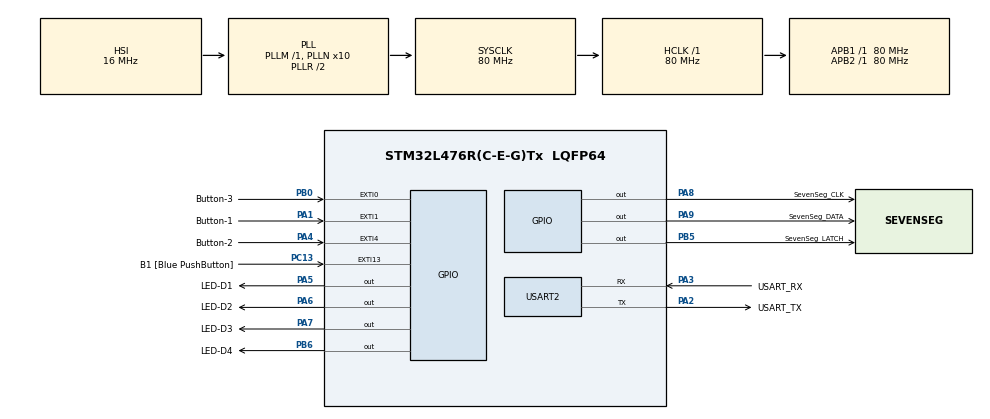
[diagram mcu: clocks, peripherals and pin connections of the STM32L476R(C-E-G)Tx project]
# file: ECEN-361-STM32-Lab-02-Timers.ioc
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Mcu.Family=STM32L4
Mcu.Name=STM32L476R(C-E-G)Tx
Mcu.Package=LQFP64
Mcu.UserConstants=reaction_timer,1
NVIC.EXTI0_IRQn=true\:0\:0\:false\:false\:true\:true\:true\:true
NVIC.EXTI1_IRQn=true\:0\:0\:false\:false\:true\:true\:true\:true
NVIC.EXTI4_IRQn=true\:0\:0\:false\:false\:true\:true\:true\:true
NVIC.PriorityGroup=NVIC_PRIORITYGROUP_4
NVIC.TIM1_TRG_COM_TIM17_IRQn=true\:0\:0\:false\:false\:true\:true\:true\:true
NVIC.TIM1_UP_TIM16_IRQn=true\:0\:0\:false\:false\:true\:true\:true\:true
NVIC.TIM6_DAC_IRQn=true\:0\:0\:false\:false\:true\:true\:true\:true
NVIC.TIM7_IRQn=true\:0\:0\:false\:false\:true\:true\:true\:true
PA0.Signal=ADCx_IN5
PA1.GPIO_Label=Button-1
PA1.GPIO_ModeDefaultEXTI=GPIO_MODE_IT_FALLING
PA1.Signal=GPXTI1
PA13\ (JTMS-SWDIO).GPIO_Label=TMS
PA13\ (JTMS-SWDIO).Mode=Serial_Wire
PA13\ (JTMS-SWDIO).Signal=SYS_JTMS-SWDIO
PA14\ (JTCK-SWCLK).GPIO_Label=TCK
PA14\ (JTCK-SWCLK).Mode=Serial_Wire
PA14\ (JTCK-SWCLK).Signal=SYS_JTCK-SWCLK
PA2.GPIO_Label=USART_TX
PA2.GPIO_Mode=GPIO_MODE_AF_PP
PA2.GPIO_PuPd=GPIO_NOPULL
PA2.GPIO_Speed=GPIO_SPEED_FREQ_VERY_HIGH
PA2.Mode=Asynchronous
PA2.Signal=USART2_TX
PA3.GPIO_Label=USART_RX
PA3.GPIO_Mode=GPIO_MODE_AF_PP
PA3.GPIO_PuPd=GPIO_NOPULL
PA3.GPIO_Speed=GPIO_SPEED_FREQ_VERY_HIGH
PA3.Mode=Asynchronous
PA3.Signal=USART2_RX
PA4.GPIO_Label=Button-2
PA4.GPIO_ModeDefaultEXTI=GPIO_MODE_IT_FALLING
PA4.Signal=GPXTI4
PA5.GPIO_Label=LED-D1
PA5.Signal=GPIO_Output
PA6.GPIO_Label=LED-D2
PA6.Signal=GPIO_Output
PA7.GPIO_Label=LED-D3
PA7.Signal=GPIO_Output
PA8.GPIO_Label=SevenSeg_CLK
PA8.Signal=GPIO_Output
PA9.GPIO_Label=SevenSeg_DATA
PA9.Signal=GPIO_Output
PB0.GPIO_Label=Button-3
PB0.GPIO_ModeDefaultEXTI=GPIO_MODE_IT_FALLING
PB0.Signal=GPXTI0
PB3\ (JTDO-TRACESWO).Signal=SYS_JTDO-SWO
PB5.GPIO_Label=SevenSeg_LATCH
PB5.Signal=GPIO_Output
PB6.GPIO_Label=LED-D4
PB6.Signal=GPIO_Output
PC1.GPIO_Label=LM35_IN
PC1.Signal=ADCx_IN2
PC13.GPIO_Label=B1 [Blue PushButton]
PC13.GPIO_ModeDefaultEXTI=GPIO_MODE_IT_FALLING
PC13.GPIO_PuPd=GPIO_NOPULL
PC13.Signal=GPXTI13
PC14-OSC32_IN\ (PC14).Mode=LSE-External-Oscillator
PC14-OSC32_IN\ (PC14).Signal=RCC_OSC32_IN
PC15-OSC32_OUT\ (PC15).Mode=LSE-External-Oscillator
PC15-OSC32_OUT\ (PC15).Signal=RCC_OSC32_OUT
PH0-OSC_IN\ (PH0).Signal=RCC_OSC_IN
PH1-OSC_OUT\ (PH1).Signal=RCC_OSC_OUT
ProjectManager.HeapSize=0x200
ProjectManager.StackSize=0x400
ProjectManager.TargetToolchain=STM32CubeIDE
RCC.ADCFreq_Value=64000000
RCC.AHBFreq_Value=80000000
RCC.APB1Freq_Value=80000000
RCC.APB1TimFreq_Value=80000000
RCC.APB2Freq_Value=80000000
RCC.APB2TimFreq_Value=80000000
RCC.CortexFreq_Value=80000000
RCC.HCLKFreq_Value=80000000
RCC.HSE_VALUE=8000000
RCC.HSI_VALUE=16000000
RCC.MSI_VALUE=4000000
RCC.PLLN=10
RCC.PLLSourceVirtual=RCC_PLLSOURCE_HSI
RCC.PREFETCH_ENABLE=1
RCC.SYSCLKFreq_VALUE=80000000
RCC.SYSCLKSource=RCC_SYSCLKSOURCE_PLLCLK
RCC.USBFreq_Value=64000000
RCC.VCOOutputFreq_Value=160000000
SH.ADCx_IN2.0=ADC1_IN2
SH.ADCx_IN5.0=ADC2_IN5
TIM16.Period=10000
TIM16.Prescaler=8000 -1
TIM17.Period=100
TIM17.Prescaler=800-1
TIM3.AutoReloadPreload=TIM_AUTORELOAD_PRELOAD_DISABLE
TIM3.Period=65535
TIM3.Prescaler=8000-1
TIM6.Prescaler=319
TIM7.Prescaler=159
USART2.VirtualMode-Asynchronous=VM_ASYNC
VP_TIM16_VS_ClockSourceINT.Mode=Enable_Timer
VP_TIM17_VS_ClockSourceINT.Mode=Enable_Timer
VP_TIM3_VS_ClockSourceINT.Mode=Internal
VP_TIM6_VS_ClockSourceINT.Mode=Enable_Timer
VP_TIM7_VS_ClockSourceINT.Mode=Enable_Timer
board=NUCLEO-L476RG

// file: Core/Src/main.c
/* USER CODE BEGIN Header */
/**
  ******************************************************************************
  * @file           : main.c
  * @brief          : Main program body
  ******************************************************************************
  * @attention
  *
  * Copyright (c) 2023 STMicroelectronics.
  * All rights reserved.
  *
  * This software is licensed under terms that can be found in the LICENSE file
  * in the root directory of this software component.
  * If no LICENSE file comes with this software, it is provided AS-IS.
  *
  ******************************************************************************
  */
/* USER CODE END Header */
#include "main.h"

/* USER CODE BEGIN Includes */
#include "MultiFunctionShield.h"
#include <stdio.h>
#include <stdlib.h>
#include <stdbool.h>

/* USER CODE END Includes */

TIM_HandleTypeDef htim3;
TIM_HandleTypeDef htim6;
TIM_HandleTypeDef htim7;
TIM_HandleTypeDef htim16;
TIM_HandleTypeDef htim17;

UART_HandleTypeDef huart2;

/* USER CODE BEGIN PV */
bool got_start_button = false;
bool got_stop_button = false;
bool got_fastest_button = false;

/* USER CODE END PV */

void SystemClock_Config(void);
static void MX_GPIO_Init(void);
static void MX_USART2_UART_Init(void);
static void MX_TIM17_Init(void);
static void MX_TIM16_Init(void);
static void MX_TIM3_Init(void);
static void MX_TIM6_Init(void);
static void MX_TIM7_Init(void);
/* USER CODE BEGIN PFP */
/* Private function prototypes -----------------------------------------------*/
#define PUTCHAR_PROTOTYPE int __io_putchar(int ch)

void HAL_GPIO_EXTI_Callback(uint16_t GPIO_Pin);
void show_a_random_number(void);
void got_start(void);
void got_stop(void);
void got_fastest(void);
int best_reaction_time_in_millisec = 99999;  //Start with something easy to beat
bool started_doing_reaction_timers = false;
bool ready_to_stop = false;  // Indicates if the user is allowed to press STOP

/* USER CODE END PFP */

int main(void)
{

  /* MCU Configuration--------------------------------------------------------*/

  /* Reset of all peripherals, Initializes the Flash interface and the Systick. */
  HAL_Init();

  /* Configure the system clock */
  SystemClock_Config();

  /* Initialize all configured peripherals */
  MX_GPIO_Init();
  MX_USART2_UART_Init();
  MX_TIM17_Init();
  MX_TIM16_Init();
  MX_TIM3_Init();
  MX_TIM6_Init();
  MX_TIM7_Init();
  /* USER CODE BEGIN 2 */

  // Start timer
  HAL_TIM_Base_Start_IT(&htim17);  // LED SevenSeg cycle thru them   DONT CHANGE
  HAL_TIM_Base_Start_IT(&htim16);  // LED-D1 toggle according to Timer16   DONT CHANGE

  /************  STUDENT TO FILL IN HERE START *********************/

	  // Add your Timer Start for LED-D2 HERE
	  HAL_TIM_Base_Start_IT(&htim7);	//enable timer 7
	  // Add your Timer Start for LED-D3 HERE
	  HAL_TIM_Base_Start_IT(&htim6);	//enable timer 6

  /************  STUDENT TO FILL IN HERE END   *********************/

  MultiFunctionShield_Clear();
  /* USER CODE END 2 */

  /* Infinite loop */
  /* USER CODE BEGIN WHILE */
  Clear_LEDs();
  printf("\033\143");  // clear the terminal before printing
  printf("Hello Lab-2 -- Timers and Interrupts \n\r\n\r");
  srand((unsigned) uwTick );

  while (1)
  {
      // Wait for the START button to be pressed
      while (!got_start_button);

      // START button was pressed
      got_start();
      got_start_button = false;

      // Wait for the STOP button to be pressed
      while (!got_stop_button);

      // STOP button was pressed
      got_stop();
      got_stop_button = false;

      // Reset the reaction timer state for the next round
      MX_TIM3_Init();  // Reinitialize the timer for the next round
  }

  /* USER CODE END 3 */
}

void SystemClock_Config(void)
{
  RCC_OscInitTypeDef RCC_OscInitStruct = {0};
  RCC_ClkInitTypeDef RCC_ClkInitStruct = {0};

  /** Configure the main internal regulator output voltage
  */
  if (HAL_PWREx_ControlVoltageScaling(PWR_REGULATOR_VOLTAGE_SCALE1) != HAL_OK)
  {
    Error_Handler();
  }

  /** Initializes the RCC Oscillators according to the specified parameters
  * in the RCC_OscInitTypeDef structure.
  */
  RCC_OscInitStruct.OscillatorType = RCC_OSCILLATORTYPE_HSI;
  RCC_OscInitStruct.HSIState = RCC_HSI_ON;
  RCC_OscInitStruct.HSICalibrationValue = RCC_HSICALIBRATION_DEFAULT;
  RCC_OscInitStruct.PLL.PLLState = RCC_PLL_ON;
  RCC_OscInitStruct.PLL.PLLSource = RCC_PLLSOURCE_HSI;
  RCC_OscInitStruct.PLL.PLLM = 1;
  RCC_OscInitStruct.PLL.PLLN = 10;
  RCC_OscInitStruct.PLL.PLLP = RCC_PLLP_DIV7;
  RCC_OscInitStruct.PLL.PLLQ = RCC_PLLQ_DIV2;
  RCC_OscInitStruct.PLL.PLLR = RCC_PLLR_DIV2;
  if (HAL_RCC_OscConfig(&RCC_OscInitStruct) != HAL_OK)
  {
    Error_Handler();
  }

  /** Initializes the CPU, AHB and APB buses clocks
  */
  RCC_ClkInitStruct.ClockType = RCC_CLOCKTYPE_HCLK|RCC_CLOCKTYPE_SYSCLK
                              |RCC_CLOCKTYPE_PCLK1|RCC_CLOCKTYPE_PCLK2;
  RCC_ClkInitStruct.SYSCLKSource = RCC_SYSCLKSOURCE_PLLCLK;
  RCC_ClkInitStruct.AHBCLKDivider = RCC_SYSCLK_DIV1;
  RCC_ClkInitStruct.APB1CLKDivider = RCC_HCLK_DIV1;
  RCC_ClkInitStruct.APB2CLKDivider = RCC_HCLK_DIV1;

  if (HAL_RCC_ClockConfig(&RCC_ClkInitStruct, FLASH_LATENCY_4) != HAL_OK)
  {
    Error_Handler();
  }
}

static void MX_TIM3_Init(void)
{

  TIM_ClockConfigTypeDef sClockSourceConfig = {0};
  TIM_MasterConfigTypeDef sMasterConfig = {0};

  htim3.Instance = TIM3;
  htim3.Init.Prescaler = 8000-1;
  htim3.Init.CounterMode = TIM_COUNTERMODE_UP;
  htim3.Init.Period = 65535;
  htim3.Init.ClockDivision = TIM_CLOCKDIVISION_DIV1;
  htim3.Init.AutoReloadPreload = TIM_AUTORELOAD_PRELOAD_DISABLE;
  if (HAL_TIM_Base_Init(&htim3) != HAL_OK)
  {
    Error_Handler();
  }
  sClockSourceConfig.ClockSource = TIM_CLOCKSOURCE_INTERNAL;
  if (HAL_TIM_ConfigClockSource(&htim3, &sClockSourceConfig) != HAL_OK)
  {
    Error_Handler();
  }
  sMasterConfig.MasterOutputTrigger = TIM_TRGO_RESET;
  sMasterConfig.MasterSlaveMode = TIM_MASTERSLAVEMODE_DISABLE;
  if (HAL_TIMEx_MasterConfigSynchronization(&htim3, &sMasterConfig) != HAL_OK)
  {
    Error_Handler();
  }

}

static void MX_TIM6_Init(void)
{

  TIM_MasterConfigTypeDef sMasterConfig = {0};

  htim6.Instance = TIM6;
  htim6.Init.Prescaler = 319;
  htim6.Init.CounterMode = TIM_COUNTERMODE_UP;
  htim6.Init.Period = 65535;
  htim6.Init.AutoReloadPreload = TIM_AUTORELOAD_PRELOAD_DISABLE;
  if (HAL_TIM_Base_Init(&htim6) != HAL_OK)
  {
    Error_Handler();
  }
  sMasterConfig.MasterOutputTrigger = TIM_TRGO_RESET;
  sMasterConfig.MasterSlaveMode = TIM_MASTERSLAVEMODE_DISABLE;
  if (HAL_TIMEx_MasterConfigSynchronization(&htim6, &sMasterConfig) != HAL_OK)
  {
    Error_Handler();
  }

}

static void MX_TIM7_Init(void)
{

  TIM_MasterConfigTypeDef sMasterConfig = {0};

  htim7.Instance = TIM7;
  htim7.Init.Prescaler = 159;
  htim7.Init.CounterMode = TIM_COUNTERMODE_UP;
  htim7.Init.Period = 65535;
  htim7.Init.AutoReloadPreload = TIM_AUTORELOAD_PRELOAD_DISABLE;
  if (HAL_TIM_Base_Init(&htim7) != HAL_OK)
  {
    Error_Handler();
  }
  sMasterConfig.MasterOutputTrigger = TIM_TRGO_RESET;
  sMasterConfig.MasterSlaveMode = TIM_MASTERSLAVEMODE_DISABLE;
  if (HAL_TIMEx_MasterConfigSynchronization(&htim7, &sMasterConfig) != HAL_OK)
  {
    Error_Handler();
  }

}

static void MX_TIM16_Init(void)
{

  htim16.Instance = TIM16;
  htim16.Init.Prescaler = 8000 -1;
  htim16.Init.CounterMode = TIM_COUNTERMODE_UP;
  htim16.Init.Period = 10000;
  htim16.Init.ClockDivision = TIM_CLOCKDIVISION_DIV1;
  htim16.Init.RepetitionCounter = 0;
  htim16.Init.AutoReloadPreload = TIM_AUTORELOAD_PRELOAD_DISABLE;
  if (HAL_TIM_Base_Init(&htim16) != HAL_OK)
  {
    Error_Handler();
  }

}

static void MX_TIM17_Init(void)
{

  htim17.Instance = TIM17;
  htim17.Init.Prescaler = 800-1;
  htim17.Init.CounterMode = TIM_COUNTERMODE_UP;
  htim17.Init.Period = 100;
  htim17.Init.ClockDivision = TIM_CLOCKDIVISION_DIV1;
  htim17.Init.RepetitionCounter = 0;
  htim17.Init.AutoReloadPreload = TIM_AUTORELOAD_PRELOAD_DISABLE;
  if (HAL_TIM_Base_Init(&htim17) != HAL_OK)
  {
    Error_Handler();
  }

}

static void MX_USART2_UART_Init(void)
{

  huart2.Instance = USART2;
  huart2.Init.BaudRate = 115200;
  huart2.Init.WordLength = UART_WORDLENGTH_8B;
  huart2.Init.StopBits = UART_STOPBITS_1;
  huart2.Init.Parity = UART_PARITY_NONE;
  huart2.Init.Mode = UART_MODE_TX_RX;
  huart2.Init.HwFlowCtl = UART_HWCONTROL_NONE;
  huart2.Init.OverSampling = UART_OVERSAMPLING_16;
  huart2.Init.OneBitSampling = UART_ONE_BIT_SAMPLE_DISABLE;
  huart2.AdvancedInit.AdvFeatureInit = UART_ADVFEATURE_NO_INIT;
  if (HAL_UART_Init(&huart2) != HAL_OK)
  {
    Error_Handler();
  }

}

static void MX_GPIO_Init(void)
{
  GPIO_InitTypeDef GPIO_InitStruct = {0};

  /* GPIO Ports Clock Enable */
  __HAL_RCC_GPIOC_CLK_ENABLE();
  __HAL_RCC_GPIOH_CLK_ENABLE();
  __HAL_RCC_GPIOA_CLK_ENABLE();
  __HAL_RCC_GPIOB_CLK_ENABLE();

  /*Configure GPIO pin Output Level */
  HAL_GPIO_WritePin(GPIOA, LED_D1_Pin|LED_D2_Pin|LED_D3_Pin|SevenSeg_CLK_Pin
                          |SevenSeg_DATA_Pin, GPIO_PIN_RESET);

  /*Configure GPIO pin Output Level */
  HAL_GPIO_WritePin(GPIOB, SevenSeg_LATCH_Pin|LED_D4_Pin, GPIO_PIN_RESET);

  /*Configure GPIO pin : B1_Pin */
  GPIO_InitStruct.Pin = B1_Pin;
  GPIO_InitStruct.Mode = GPIO_MODE_IT_FALLING;
  GPIO_InitStruct.Pull = GPIO_NOPULL;
  HAL_GPIO_Init(B1_GPIO_Port, &GPIO_InitStruct);

  /*Configure GPIO pin : LM35_IN_Pin */
  GPIO_InitStruct.Pin = LM35_IN_Pin;
  GPIO_InitStruct.Mode = GPIO_MODE_ANALOG_ADC_CONTROL;
  GPIO_InitStruct.Pull = GPIO_NOPULL;
  HAL_GPIO_Init(LM35_IN_GPIO_Port, &GPIO_InitStruct);

  /*Configure GPIO pin : PA0 */
  GPIO_InitStruct.Pin = GPIO_PIN_0;
  GPIO_InitStruct.Mode = GPIO_MODE_ANALOG_ADC_CONTROL;
  GPIO_InitStruct.Pull = GPIO_NOPULL;
  HAL_GPIO_Init(GPIOA, &GPIO_InitStruct);

  /*Configure GPIO pins : Button_1_Pin Button_2_Pin */
  GPIO_InitStruct.Pin = Button_1_Pin|Button_2_Pin;
  GPIO_InitStruct.Mode = GPIO_MODE_IT_FALLING;
  GPIO_InitStruct.Pull = GPIO_NOPULL;
  HAL_GPIO_Init(GPIOA, &GPIO_InitStruct);

  /*Configure GPIO pins : LED_D1_Pin LED_D2_Pin LED_D3_Pin SevenSeg_CLK_Pin
                           SevenSeg_DATA_Pin */
  GPIO_InitStruct.Pin = LED_D1_Pin|LED_D2_Pin|LED_D3_Pin|SevenSeg_CLK_Pin
                          |SevenSeg_DATA_Pin;
  GPIO_InitStruct.Mode = GPIO_MODE_OUTPUT_PP;
  GPIO_InitStruct.Pull = GPIO_NOPULL;
  GPIO_InitStruct.Speed = GPIO_SPEED_FREQ_LOW;
  HAL_GPIO_Init(GPIOA, &GPIO_InitStruct);

  /*Configure GPIO pin : Button_3_Pin */
  GPIO_InitStruct.Pin = Button_3_Pin;
  GPIO_InitStruct.Mode = GPIO_MODE_IT_FALLING;
  GPIO_InitStruct.Pull = GPIO_NOPULL;
  HAL_GPIO_Init(Button_3_GPIO_Port, &GPIO_InitStruct);

  /*Configure GPIO pins : SevenSeg_LATCH_Pin LED_D4_Pin */
  GPIO_InitStruct.Pin = SevenSeg_LATCH_Pin|LED_D4_Pin;
  GPIO_InitStruct.Mode = GPIO_MODE_OUTPUT_PP;
  GPIO_InitStruct.Pull = GPIO_NOPULL;
  GPIO_InitStruct.Speed = GPIO_SPEED_FREQ_LOW;
  HAL_GPIO_Init(GPIOB, &GPIO_InitStruct);

  /* EXTI interrupt init*/
  HAL_NVIC_SetPriority(EXTI0_IRQn, 0, 0);
  HAL_NVIC_EnableIRQ(EXTI0_IRQn);

  HAL_NVIC_SetPriority(EXTI1_IRQn, 0, 0);
  HAL_NVIC_EnableIRQ(EXTI1_IRQn);

  HAL_NVIC_SetPriority(EXTI4_IRQn, 0, 0);
  HAL_NVIC_EnableIRQ(EXTI4_IRQn);

}

/* USER CODE BEGIN 4 */

/**
  * @brief  Retargets the C library printf function to the USART.
  * @param  None
  * @retval None
  */
PUTCHAR_PROTOTYPE
{
  /* Place your implementation of fputc here */
  /* e.g. write a character to the USART1 and Loop until the end of transmission */
  HAL_UART_Transmit(&huart2, (uint8_t *)&ch, 1, 0xFFFF);

  return ch;
}

void HAL_GPIO_EXTI_Callback(uint16_t GPIO_Pin)
	{
	// All three buttons generate GPIO interrupts
	// Don't spend much time in the ISR because there are other interrupts happening
	switch(GPIO_Pin)
	{
	case Button_1_Pin:
		got_start_button = true;
		break;
	case Button_2_Pin:

		if (ready_to_stop == false) {
	        // Premature STOP press: Display penalty
	        MultiFunctionShield_Display(10000);  // Show "----" as a penalty
	        HAL_Delay(3000);  // Show penalty for 3 seconds
	        MultiFunctionShield_Clear();  // Clear the display after penalty
	        HAL_Delay(3000);  // Show penalty for 3 seconds
	        MultiFunctionShield_Display(10000);  // Show "----" as a penalty
	        HAL_Delay(3000);  // Show penalty for 3 seconds
	        MultiFunctionShield_Clear();  // Clear the display after penalty
	        HAL_Delay(3000);  // Show penalty for 3 seconds
	        MultiFunctionShield_Display(10000);  // Show "----" as a penalty
	        started_doing_reaction_timers = false;  // Reset the timer state
	        ready_to_stop = true;  // Reset stop readiness
	        return;  // Exit without further processing
	    }

		else {got_stop_button = true;}

		break;
	case Button_3_Pin:
		// Here's the code for the Show Fastest button --
		got_fastest_button = true;
		MultiFunctionShield_Display(best_reaction_time_in_millisec);
		break;
	default:
      __NOP();
	}
}

// Callback: timer has rolled over
void HAL_TIM_PeriodElapsedCallback(TIM_HandleTypeDef *htim)
{
// Check which version of the timer triggered this callback and toggle the right LED
  if (htim == &htim16 )
  {
	HAL_GPIO_TogglePin(LED_D1_GPIO_Port, LED_D1_Pin);
  }
/** This timer has to be here to cycle thru the 7-Seg LED displays **/
  if (htim == &htim17 )
  {
	  MultiFunctionShield__ISRFunc();
  }

  /**************** STUDENT TO FILL IN START HERE ********************/
  /*   See example above where the htim
   *   Need to put in the code to toggle D2 and D3 when their respective timers have expired
   *
   */
  //code to blink d2
  if (htim == &htim6 )
  {
	HAL_GPIO_TogglePin(LED_D2_GPIO_Port, LED_D2_Pin);
  }

  //code to blink d3
  {
	HAL_GPIO_TogglePin(LED_D3_GPIO_Port, LED_D3_Pin);
  }
  /**************** STUDENT TO FILL IN END HERE ********************/

}

/* USER CODE END 4 */

void Error_Handler(void)
{
  __disable_irq();
  while (1)
  {
  }
}
